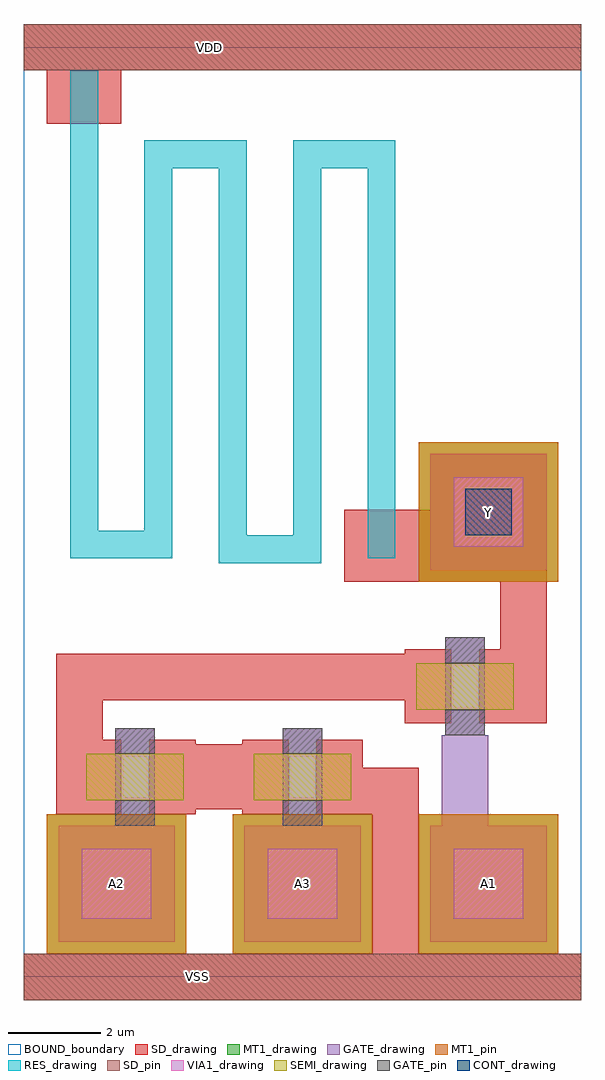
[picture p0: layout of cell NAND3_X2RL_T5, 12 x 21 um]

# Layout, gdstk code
from math import pi, radians
import gdstk
lib = gdstk.Library(unit=1e-6, precision=1e-09)
def R(c, l, rs):  # rectangles x0, y0, x1, y1
    for r in rs: c.add(gdstk.rectangle(r[:2], r[2:], *l))
def A(c, l, x, y, w, h, nx, ny, dx, dy):  # array of equal rectangles
    R(c, l, [(x+i*dx, y+j*dy, x+i*dx+w, y+j*dy+h) for i in range(nx) for j in range(ny)])
def P(c, l, *ps):  # polygons
    for p in ps: c.add(gdstk.Polygon(p, *l))
RES_drawing = (1, 0)
SEMI_drawing = (3, 0)
SD_drawing = (10, 0)
SD_pin = (10, 3)
GATE_drawing = (11, 0)
GATE_pin = (11, 3)
MT1_drawing = (20, 0)
MT1_pin = (20, 3)
CONT_drawing = (30, 0)
VIA1_drawing = (41, 0)
BOUND_boundary = (150, 5)

nch_cdns_772545026860 = lib.new_cell('nch_CDNS_772545026860')
R(nch_cdns_772545026860, SEMI_drawing, [(-1.05,-0.5,1.05,0.5)])
R(nch_cdns_772545026860, SD_drawing, [(-1.3,-0.8,-0.3,0.8), (0.3,-0.8,1.3,0.8)])
R(nch_cdns_772545026860, GATE_drawing, [(-0.425,-1.05,0.425,1.05)])
R(nch_cdns_772545026860, GATE_pin, [(-0.425,-1.05,0.425,-0.5), (-0.425,0.5,0.425,1.05)])

gate_mt1_cdns_7725450268 = lib.new_cell('GATE_MT1_CDNS_772545026860')
R(gate_mt1_cdns_7725450268, GATE_drawing, [(-1.25,-1.25,1.25,1.25)])
R(gate_mt1_cdns_7725450268, MT1_drawing, [(-1.25,-1.25,1.25,1.25)])
R(gate_mt1_cdns_7725450268, VIA1_drawing, [(-0.75,-0.75,0.75,0.75)])

sd_gate_cdns_77254502686 = lib.new_cell('SD_GATE_CDNS_772545026861')
R(sd_gate_cdns_77254502686, SD_drawing, [(-1,-1,1,1)])
R(sd_gate_cdns_77254502686, GATE_drawing, [(-1,-1,1,1)])
R(sd_gate_cdns_77254502686, CONT_drawing, [(-0.5,-0.5,0.5,0.5)])

gate_mt1_stack_cdns_7725 = lib.new_cell('GATE_MT1_STACK_CDNS_772545026862')
R(gate_mt1_stack_cdns_7725, GATE_drawing, [(-1.25,-1.25,1.25,1.25)])
R(gate_mt1_stack_cdns_7725, MT1_drawing, [(-1.25,-1.25,1.25,1.25)])
R(gate_mt1_stack_cdns_7725, VIA1_drawing, [(-0.75,-0.75,0.75,0.75)])

nand3_x2rl_t5 = lib.new_cell('NAND3_X2RL_T5')
R(nand3_x2rl_t5, SD_drawing, [(6.9,8.5,11.25,10.05), (8.75,8.75,11.25,11.25), (0.5,18.35,2.1,19.5)])
R(nand3_x2rl_t5, SD_pin, [(0,-0.5,12,0.5), (0,19.5,12,20.5)])
P(nand3_x2rl_t5, GATE_drawing, [(1.9,3.15),(2.9,3.15),(2.9,3.25),(2.775,3.25),(2.775,3.3),(2.025,3.3),(2.025,3.25),(1.9,3.25)],
  [(5.5,3.15),(6.5,3.15),(6.5,3.25),(6.375,3.25),(6.375,3.3),(5.625,3.3),(5.625,3.25),(5.5,3.25)],
  [(9,5.1),(10,5.1),(10,5.2),(9.875,5.2),(9.875,5.25),(9.125,5.25),(9.125,5.2),(9,5.2)])
A(nand3_x2rl_t5, MT1_drawing, 0.5, 0.5, 3, 3, 3, 1, 4, 0)
R(nand3_x2rl_t5, MT1_drawing, [(8.5,8.5,11.5,11.5)])
A(nand3_x2rl_t5, MT1_pin, 0.5, 0.5, 3, 3, 3, 1, 4, 0)
R(nand3_x2rl_t5, MT1_pin, [(8.5,8.5,11.5,11.5)])
R(nand3_x2rl_t5, BOUND_boundary, [(0,0,12,20)])
nand3_x2rl_t5.add(gdstk.FlexPath([(10.75,5.45),(10.75,8.75)], 1, ends="flush", simple_path=True, layer=10, datatype=0))  # SD_drawing
nand3_x2rl_t5.add(gdstk.FlexPath([(1.2,3.5),(1.2,6.45)], 1, ends=(0, 0.5), simple_path=True, layer=10, datatype=0))  # SD_drawing
nand3_x2rl_t5.add(gdstk.FlexPath([(1.2,6.45),(8.2,6.45)], 1, ends=(0.5, 0), simple_path=True, layer=10, datatype=0))  # SD_drawing
nand3_x2rl_t5.add(gdstk.FlexPath([(4.7,4.3),(3.7,4.3)], 1.4, ends="flush", simple_path=True, layer=10, datatype=0))  # SD_drawing
nand3_x2rl_t5.add(gdstk.FlexPath([(8,4),(7.3,4)], 1, ends=(0.5, 0), simple_path=True, layer=10, datatype=0))  # SD_drawing
nand3_x2rl_t5.add(gdstk.FlexPath([(8,0.5),(8,4)], 1, ends=(0, 0.5), simple_path=True, layer=10, datatype=0))  # SD_drawing
nand3_x2rl_t5.add(gdstk.FlexPath([(0,0),(12,0)], 1, ends="flush", simple_path=True, layer=10, datatype=0))  # SD_drawing
nand3_x2rl_t5.add(gdstk.FlexPath([(0,20),(12,20)], 1, ends="flush", simple_path=True, layer=10, datatype=0))  # SD_drawing
nand3_x2rl_t5.add(gdstk.FlexPath([(1.3,19.5),(1.3,9.3),(2.9,9.3),(2.9,17.7),(4.5,17.7),(4.5,9.2),(6.1,9.2),(6.1,17.7),(7.7,17.7),(7.7,9)], 0.6, ends="flush", simple_path=True, layer=1, datatype=0))  # RES_drawing
nand3_x2rl_t5.add(gdstk.FlexPath([(9.5,5.1),(9.5,3.75)], 1, ends=(0, 0.5), simple_path=True, layer=11, datatype=0))  # GATE_drawing
nand3_x2rl_t5.add(gdstk.Reference(nch_cdns_772545026860, (6,4.3)))
nand3_x2rl_t5.add(gdstk.Reference(nch_cdns_772545026860, (9.5,6.25), rotation=pi, x_reflection=True))
nand3_x2rl_t5.add(gdstk.Reference(nch_cdns_772545026860, (2.4,4.3), rotation=pi, x_reflection=True))
nand3_x2rl_t5.add(gdstk.Reference(gate_mt1_cdns_7725450268, (10,10)))
nand3_x2rl_t5.add(gdstk.Reference(sd_gate_cdns_77254502686, (10,10)))
nand3_x2rl_t5.add(gdstk.Reference(gate_mt1_stack_cdns_7725, (2,2)))
nand3_x2rl_t5.add(gdstk.Reference(gate_mt1_stack_cdns_7725, (6,2)))
nand3_x2rl_t5.add(gdstk.Reference(gate_mt1_stack_cdns_7725, (10,2)))
nand3_x2rl_t5.add(gdstk.Label('VSS', (3.75,0), layer=10, texttype=3))
nand3_x2rl_t5.add(gdstk.Label('VDD', (4,20), layer=10, texttype=3))
nand3_x2rl_t5.add(gdstk.Label('Y', (10,10), layer=20, texttype=3))
nand3_x2rl_t5.add(gdstk.Label('A1', (10,2), layer=20, texttype=3))
nand3_x2rl_t5.add(gdstk.Label('A3', (6,2), layer=20, texttype=3))
nand3_x2rl_t5.add(gdstk.Label('A2', (2,2), layer=20, texttype=3))

lib.write_gds('NAND3_X2RL_T5.gds')
